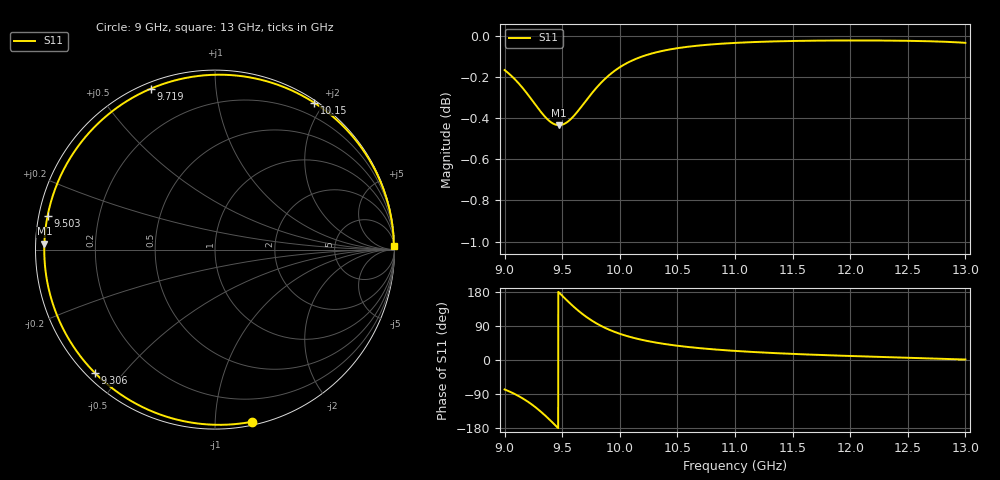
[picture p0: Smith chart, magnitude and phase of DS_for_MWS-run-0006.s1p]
! TOUCHSTONE file generated by CST DESIGN STUDIO
! Date and time: Tue Feb  4 13:17:41 2025
! Project name: C:\Work\MatlabApps\UnitCellOptimizationMatlab\CST\unitcell.cst
! Tree item: Tasks\Sweep1\SPara1\S-Parameters
! Header version: 2024
! Port assignment regex: !\s*Touchstone port\s*([0-9]+)\s*=\s*(CST MWS port|CST DES external port|CST DES block port)\s*(.+)\s* \(\"(.*)\"\)(\s*mode\s*([0-9]+))?.*
! Touchstone port assignment:
! Touchstone port 1 = CST DES external port 1 ("")
# GHz S MA R 50
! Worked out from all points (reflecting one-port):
!   4001 points, 9 GHz to 13 GHz, reference 50 ohm
!   lowest |S11| = -0.4 dB at 9.472 GHz (marker M1), VSWR 40.04, Z = 1.25 + j0.875 ohm
!   phase of S11 starts at -78 deg and turns -281 deg over the sweep
!   S11 on the Smith chart (normalised r, x): 9 GHz: 0.02, -1.24; 9.306 GHz: 0.02, -0.42; 9.503 GHz: 0.03, +0.10; 9.719 GHz: 0.03, +0.68; 10.15 GHz: 0.03, +1.88; 13 GHz: 17, +91
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9  0.9811 -77.7
9.077  0.9768 -88.1
9.174  0.9699 -104.5
9.242  0.9644 -118.6
9.306  0.9591 -134.1
9.35  0.9558 -145.9
9.396  0.9531 -159.1
9.435  0.9517 -170.8
9.472  0.9513 178.0
9.5  0.9515 169.5
9.503  0.9516 168.6
9.555  0.9535 153.2
9.614  0.9571 136.8
9.666  0.9611 123.7
9.719  0.9654 111.7
9.774  0.9697 100.8
9.836  0.974 90.2
9.916  0.9787 78.9
10  0.9826 69.2
10.151  0.9875 56.0
10.309  0.9907 46.2
10.5  0.9932 37.6
10.722  0.9948 30.5
11  0.9961 24.0
11.5  0.9972 16.1
12  0.9975 10.6
12.5  0.9973 6.0
13  0.9961 1.2
